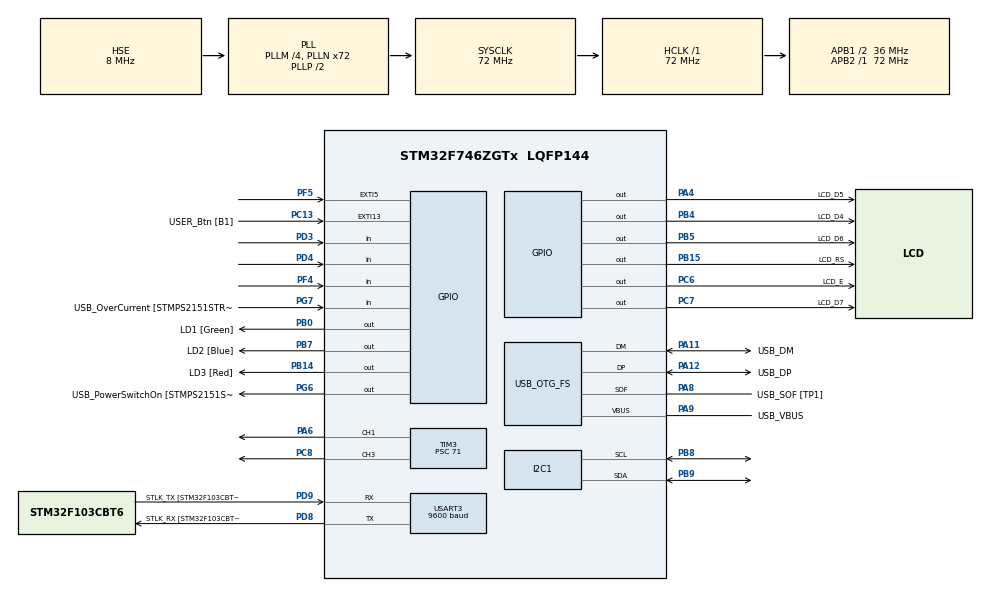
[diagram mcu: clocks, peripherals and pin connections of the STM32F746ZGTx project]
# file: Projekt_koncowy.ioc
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I2C1.Timing=0x00808CD2
Mcu.Family=STM32F7
Mcu.Name=STM32F746ZGTx
Mcu.Package=LQFP144
NVIC.EXTI15_10_IRQn=true\:0\:0\:false\:false\:true\:true\:true
NVIC.EXTI9_5_IRQn=true\:0\:0\:false\:false\:true\:true\:true
NVIC.PriorityGroup=NVIC_PRIORITYGROUP_4
NVIC.TIM2_IRQn=true\:0\:0\:false\:false\:true\:true\:true
NVIC.TIM3_IRQn=true\:0\:0\:false\:false\:true\:true\:true
NVIC.TIM4_IRQn=true\:0\:0\:false\:false\:true\:true\:true
NVIC.TIM5_IRQn=true\:0\:0\:false\:false\:true\:true\:true
NVIC.USART3_IRQn=true\:0\:0\:false\:false\:true\:true\:true
PA1.GPIO_Label=RMII_REF_CLK [LAN8742A-CZ-TR_REFCLK0]
PA1.Signal=ETH_REF_CLK
PA10.GPIO_Label=USB_ID
PA10.Signal=USB_OTG_FS_ID
PA11.GPIO_Label=USB_DM
PA11.Mode=Device_Only
PA11.Signal=USB_OTG_FS_DM
PA12.GPIO_Label=USB_DP
PA12.Mode=Device_Only
PA12.Signal=USB_OTG_FS_DP
PA13.GPIO_Label=TMS
PA13.Mode=Serial_Wire
PA13.Signal=SYS_JTMS-SWDIO
PA14.GPIO_Label=TCK
PA14.Mode=Serial_Wire
PA14.Signal=SYS_JTCK-SWCLK
PA2.GPIO_Label=RMII_MDIO [LAN8742A-CZ-TR_MDIO]
PA2.Signal=ETH_MDIO
PA4.GPIO_Label=LCD_D5
PA4.Signal=GPIO_Output
PA6.Signal=S_TIM3_CH1
PA7.GPIO_Label=RMII_CRS_DV [LAN8742A-CZ-TR_CRS_DV]
PA7.Signal=ETH_CRS_DV
PA8.GPIO_Label=USB_SOF [TP1]
PA8.Mode=Activate_SOF_FS
PA8.Signal=USB_OTG_FS_SOF
PA9.GPIO_Label=USB_VBUS
PA9.Mode=Activate_VBUS
PA9.Signal=USB_OTG_FS_VBUS
PB0.GPIO_Label=LD1 [Green]
PB0.Signal=GPIO_Output
PB13.GPIO_Label=RMII_TXD1 [LAN8742A-CZ-TR_TXD1]
PB13.Signal=ETH_TXD1
PB14.GPIO_Label=LD3 [Red]
PB14.Signal=GPIO_Output
PB15.GPIO_Label=LCD_RS
PB15.Signal=GPIO_Output
PB3.GPIO_Label=SW0
PB3.Signal=SYS_JTDO-SWO
PB4.GPIO_Label=LCD_D4
PB4.Signal=GPIO_Output
PB5.GPIO_Label=LCD_D6
PB5.Signal=GPIO_Output
PB7.GPIO_Label=LD2 [Blue]
PB7.Signal=GPIO_Output
PB8.Mode=I2C
PB8.Signal=I2C1_SCL
PB9.Mode=I2C
PB9.Signal=I2C1_SDA
PC1.GPIO_Label=RMII_MDC [LAN8742A-CZ-TR_MDC]
PC1.Signal=ETH_MDC
PC13.GPIO_Label=USER_Btn [B1]
PC13.Signal=GPXTI13
PC14/OSC32_IN.Mode=LSE-External-Oscillator
PC14/OSC32_IN.Signal=RCC_OSC32_IN
PC15/OSC32_OUT.Mode=LSE-External-Oscillator
PC15/OSC32_OUT.Signal=RCC_OSC32_OUT
PC4.GPIO_Label=RMII_RXD0 [LAN8742A-CZ-TR_RXD0]
PC4.Signal=ETH_RXD0
PC5.GPIO_Label=RMII_RXD1 [LAN8742A-CZ-TR_RXD1]
PC5.Signal=ETH_RXD1
PC6.GPIO_Label=LCD_E
PC6.Signal=GPIO_Output
PC7.GPIO_Label=LCD_D7
PC7.Signal=GPIO_Output
PC8.Signal=S_TIM3_CH3
PD3.Signal=GPIO_Input
PD4.Signal=GPIO_Input
PD8.GPIO_Label=STLK_RX [STM32F103CBT6_PA3]
PD8.Mode=Asynchronous
PD8.Signal=USART3_TX
PD9.GPIO_Label=STLK_TX [STM32F103CBT6_PA2]
PD9.Mode=Asynchronous
PD9.Signal=USART3_RX
PF4.GPIO_PuPd=GPIO_PULLUP
PF4.Signal=GPIO_Input
PF5.GPIO_PuPd=GPIO_PULLUP
PF5.Signal=GPXTI5
PG11.GPIO_Label=RMII_TX_EN [LAN8742A-CZ-TR_TXEN]
PG11.Signal=ETH_TX_EN
PG13.GPIO_Label=RMII_TXD0 [LAN8742A-CZ-TR_TXD0]
PG13.Signal=ETH_TXD0
PG6.GPIO_Label=USB_PowerSwitchOn [STMPS2151STR_EN]
PG6.Signal=GPIO_Output
PG7.GPIO_Label=USB_OverCurrent [STMPS2151STR_FAULT]
PG7.Signal=GPIO_Input
PH0/OSC_IN.GPIO_Label=MCO [STM32F103CBT6_PA8]
PH0/OSC_IN.Mode=HSE-External-Clock-Source
PH0/OSC_IN.Signal=RCC_OSC_IN
PH1/OSC_OUT.Mode=HSE-External-Clock-Source
PH1/OSC_OUT.Signal=RCC_OSC_OUT
ProjectManager.HeapSize=0x200
ProjectManager.StackSize=0x400
ProjectManager.TargetToolchain=STM32CubeIDE
RCC.48MHZClocksFreq_Value=24000000
RCC.AHBFreq_Value=72000000
RCC.APB1CLKDivider=RCC_HCLK_DIV2
RCC.APB1Freq_Value=36000000
RCC.APB1TimFreq_Value=72000000
RCC.APB2Freq_Value=72000000
RCC.APB2TimFreq_Value=72000000
RCC.CortexFreq_Value=72000000
RCC.HCLKFreq_Value=72000000
RCC.HSE_VALUE=8000000
RCC.HSI_VALUE=16000000
RCC.PLLM=4
RCC.PLLMUL=RCC_PLL_MUL9
RCC.PLLN=72
RCC.PLLQ=3
RCC.PRESCALERUSB=RCC_USBCLKSOURCE_PLL_DIV1_5
RCC.SYSCLKFreq_VALUE=72000000
RCC.SYSCLKSource=RCC_SYSCLKSOURCE_PLLCLK
RCC.SYSCLKSourceVirtual=RCC_SYSCLKSOURCE_PLLCLK
RCC.USBFreq_Value=48000000
RCC.VCOOutputFreq_Value=144000000
SH.S_TIM3_CH1.0=TIM3_CH1,PWM Generation1 CH1
SH.S_TIM3_CH3.0=TIM3_CH3,PWM Generation3 CH3
TIM2.Period=999
TIM2.Prescaler=63999
TIM3.Channel-PWM\ Generation1\ CH1=TIM_CHANNEL_1
TIM3.Channel-PWM\ Generation3\ CH3=TIM_CHANNEL_3
TIM3.Period=999
TIM3.Prescaler=71
TIM3.Pulse-PWM\ Generation3\ CH3=500
TIM4.Period=1000
TIM4.Prescaler=71
TIM5.Prescaler=71
USART3.BaudRate=9600
USART3.VirtualMode-Asynchronous=VM_ASYNC
USB_OTG_FS.VirtualMode=Device_Only
VP_TIM2_VS_ClockSourceINT.Mode=Internal
VP_TIM4_VS_ClockSourceINT.Mode=Internal
VP_TIM5_VS_ClockSourceINT.Mode=Internal
board=NUCLEO-F746ZG

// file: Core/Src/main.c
/* USER CODE BEGIN Header */
/**
 ******************************************************************************
 * @file           : main.c
 * @brief          : Main program body
 ******************************************************************************
 * @attention
 *
 * <h2><center>&copy; Copyright (c) 2021 STMicroelectronics.
 * All rights reserved.</center></h2>
 *
 * This software component is licensed by ST under BSD 3-Clause license,
 * the "License"; You may not use this file except in compliance with the
 * License. You may obtain a copy of the License at:
 *                        opensource.org/licenses/BSD-3-Clause
 *
 ******************************************************************************
 */
/* USER CODE END Header */
#include "main.h"

/* USER CODE BEGIN Includes */

#include <string.h>
#include <stdio.h>
#include <stdbool.h>
#include "i2c.h"
#include "bh1750_config.h"
#include "tim.h"
#include "lcd.h"
#include "lcd_config.h"
#include "pid.h"

/* USER CODE END Includes */

/* USER CODE BEGIN PD */

#define MAX_LENGTH 30

/* USER CODE END PD */

I2C_HandleTypeDef hi2c1;

TIM_HandleTypeDef htim2;
TIM_HandleTypeDef htim3;
TIM_HandleTypeDef htim4;
TIM_HandleTypeDef htim5;

UART_HandleTypeDef huart3;

PCD_HandleTypeDef hpcd_USB_OTG_FS;

/* USER CODE BEGIN PV */

BH1750_HandleTypeDef *hbh1750 = &hbh1750_1;

uint16_t wypelnienie_PWM = 100;
float set_point = 500.0;
float light = 0;
char text[MAX_LENGTH];
char msg_str[32];
_Bool uart_flag = 1;

pid pid1 = { .p.Kp = 0.5, .p.Ki = 1, .p.Kd = 0, .p.dt = 0.1,
		.previous_error = 0, .previous_integral = 0 };

/* USER CODE END PV */

void SystemClock_Config(void);
static void MX_GPIO_Init(void);
static void MX_USART3_UART_Init(void);
static void MX_USB_OTG_FS_PCD_Init(void);
//static void MX_TIM3_Init(void);
//static void MX_I2C1_Init(void);
//static void MX_TIM2_Init(void);
//static void MX_TIM5_Init(void);
//static void MX_TIM4_Init(void);

/* USER CODE BEGIN 0 */

void HAL_GPIO_EXTI_Callback(uint16_t GPIO_Pin) {
	if (GPIO_Pin == USER_Btn_Pin) {
		HAL_GPIO_TogglePin(GPIOB, LD1_Pin);
		uart_flag = !uart_flag;
		HAL_UART_Receive_IT(&huart3, (uint8_t*) msg_str, strlen("999."));
	}
	if(GPIO_Pin == GPIO_PIN_5) {
		if((HAL_GPIO_ReadPin(GPIOF,GPIO_PIN_4))&&set_point<999)
			set_point = set_point + 10;
		else if(set_point>10)
			set_point = set_point - 10;
	}
}

void HAL_TIM_PeriodElapsedCallback(TIM_HandleTypeDef *htim) {

	if (htim->Instance == TIM4) {
		__HAL_TIM_SET_AUTORELOAD(htim, 100);

		LCD_SetCursor(&hlcd1, 0, 1);
		snprintf(text, MAX_LENGTH, "READ - %.2f", light); // @suppress("Float formatting support")
		LCD_printf(&hlcd1, text);

		LCD_SetCursor(&hlcd1, 1, 1);
		snprintf(text, MAX_LENGTH, "REF - %.2f", set_point); // @suppress("Float formatting support")
		LCD_printf(&hlcd1, text);

	}

	if (htim->Instance == TIM2) {
		char str_buffer[32];
		int n;

		light = BH1750_ReadIlluminance_lux(hbh1750);

		float pwm_duty_f = (calculate_discrete_pid(&pid1, set_point, light, 1998));
		uint32_t pwm_duty = (int) pwm_duty_f;
		wypelnienie_PWM = pwm_duty;
		if (pwm_duty <= 999) {
			__HAL_TIM_SET_COMPARE(&htim3, TIM_CHANNEL_3, pwm_duty);
			__HAL_TIM_SET_COMPARE(&htim3, TIM_CHANNEL_1, 0);
		} else {
			__HAL_TIM_SET_COMPARE(&htim3, TIM_CHANNEL_3, 999);
			__HAL_TIM_SET_COMPARE(&htim3, TIM_CHANNEL_1, pwm_duty % 999);
		}

		n = sprintf(str_buffer, "{\"Light\":%6d}", (int) light);

		str_buffer[n] = '\r';
		str_buffer[n + 1] = '\n';

		HAL_UART_Transmit(&huart3, (uint8_t*) str_buffer, n + 2, 1000);

	}
}

void HAL_UART_RxCpltCallback(UART_HandleTypeDef *huart) {
	if ((huart->Instance == USART3) && uart_flag == 1) {

		HAL_TIM_Base_Stop_IT(&htim2);
		HAL_TIM_Base_Stop_IT(&htim4);

		sscanf(msg_str, "%f", &set_point); // @suppress("Float formatting support")

		for(int i=0; i<10; i++)
		{
			msg_str[i] = '\0';
		}

		HAL_UART_Receive_IT(&huart3, (uint8_t*) msg_str, strlen("999."));

		HAL_TIM_Base_Start_IT(&htim2);
		HAL_TIM_Base_Start_IT(&htim4);
	}
}
/* USER CODE END 0 */

int main(void)
{

  /* MCU Configuration--------------------------------------------------------*/

  /* Reset of all peripherals, Initializes the Flash interface and the Systick. */
  HAL_Init();

  /* Configure the system clock */
  SystemClock_Config();

  /* Initialize all configured peripherals */
  MX_GPIO_Init();
  MX_USART3_UART_Init();
  MX_USB_OTG_FS_PCD_Init();
  MX_TIM3_Init();
  MX_I2C1_Init();
  MX_TIM2_Init();
  MX_TIM5_Init();
  MX_TIM4_Init();
  /* USER CODE BEGIN 2 */

	HAL_TIM_PWM_Start(&htim3, TIM_CHANNEL_3);
	HAL_TIM_PWM_Start(&htim3, TIM_CHANNEL_1);
	HAL_UART_Receive_IT(&huart3, (uint8_t*) msg_str, strlen("999"));
	BH1750_Init(hbh1750);
	LCD_Init(&hlcd1);

	HAL_TIM_Base_Start_IT(&htim2);
	HAL_TIM_Base_Start_IT(&htim4);

  /* USER CODE END 2 */

  /* Infinite loop */
	while (1) {

	}
}

void SystemClock_Config(void)
{
  RCC_OscInitTypeDef RCC_OscInitStruct = {0};
  RCC_ClkInitTypeDef RCC_ClkInitStruct = {0};
  RCC_PeriphCLKInitTypeDef PeriphClkInitStruct = {0};

  /** Configure LSE Drive Capability
  */
  HAL_PWR_EnableBkUpAccess();
  /** Configure the main internal regulator output voltage
  */
  __HAL_RCC_PWR_CLK_ENABLE();
  __HAL_PWR_VOLTAGESCALING_CONFIG(PWR_REGULATOR_VOLTAGE_SCALE3);
  /** Initializes the RCC Oscillators according to the specified parameters
  * in the RCC_OscInitTypeDef structure.
  */
  RCC_OscInitStruct.OscillatorType = RCC_OSCILLATORTYPE_HSE;
  RCC_OscInitStruct.HSEState = RCC_HSE_BYPASS;
  RCC_OscInitStruct.PLL.PLLState = RCC_PLL_ON;
  RCC_OscInitStruct.PLL.PLLSource = RCC_PLLSOURCE_HSE;
  RCC_OscInitStruct.PLL.PLLM = 4;
  RCC_OscInitStruct.PLL.PLLN = 72;
  RCC_OscInitStruct.PLL.PLLP = RCC_PLLP_DIV2;
  RCC_OscInitStruct.PLL.PLLQ = 3;
  if (HAL_RCC_OscConfig(&RCC_OscInitStruct) != HAL_OK)
  {
    Error_Handler();
  }
  /** Initializes the CPU, AHB and APB buses clocks
  */
  RCC_ClkInitStruct.ClockType = RCC_CLOCKTYPE_HCLK|RCC_CLOCKTYPE_SYSCLK
                              |RCC_CLOCKTYPE_PCLK1|RCC_CLOCKTYPE_PCLK2;
  RCC_ClkInitStruct.SYSCLKSource = RCC_SYSCLKSOURCE_PLLCLK;
  RCC_ClkInitStruct.AHBCLKDivider = RCC_SYSCLK_DIV1;
  RCC_ClkInitStruct.APB1CLKDivider = RCC_HCLK_DIV2;
  RCC_ClkInitStruct.APB2CLKDivider = RCC_HCLK_DIV1;

  if (HAL_RCC_ClockConfig(&RCC_ClkInitStruct, FLASH_LATENCY_2) != HAL_OK)
  {
    Error_Handler();
  }
  PeriphClkInitStruct.PeriphClockSelection = RCC_PERIPHCLK_USART3|RCC_PERIPHCLK_I2C1
                              |RCC_PERIPHCLK_CLK48;
  PeriphClkInitStruct.Usart3ClockSelection = RCC_USART3CLKSOURCE_PCLK1;
  PeriphClkInitStruct.I2c1ClockSelection = RCC_I2C1CLKSOURCE_PCLK1;
  PeriphClkInitStruct.Clk48ClockSelection = RCC_CLK48SOURCE_PLL;
  if (HAL_RCCEx_PeriphCLKConfig(&PeriphClkInitStruct) != HAL_OK)
  {
    Error_Handler();
  }
}

static void MX_USART3_UART_Init(void)
{

  huart3.Instance = USART3;
  huart3.Init.BaudRate = 9600;
  huart3.Init.WordLength = UART_WORDLENGTH_8B;
  huart3.Init.StopBits = UART_STOPBITS_1;
  huart3.Init.Parity = UART_PARITY_NONE;
  huart3.Init.Mode = UART_MODE_TX_RX;
  huart3.Init.HwFlowCtl = UART_HWCONTROL_NONE;
  huart3.Init.OverSampling = UART_OVERSAMPLING_16;
  huart3.Init.OneBitSampling = UART_ONE_BIT_SAMPLE_DISABLE;
  huart3.AdvancedInit.AdvFeatureInit = UART_ADVFEATURE_NO_INIT;
  if (HAL_UART_Init(&huart3) != HAL_OK)
  {
    Error_Handler();
  }

}

static void MX_USB_OTG_FS_PCD_Init(void)
{

  hpcd_USB_OTG_FS.Instance = USB_OTG_FS;
  hpcd_USB_OTG_FS.Init.dev_endpoints = 6;
  hpcd_USB_OTG_FS.Init.speed = PCD_SPEED_FULL;
  hpcd_USB_OTG_FS.Init.dma_enable = DISABLE;
  hpcd_USB_OTG_FS.Init.phy_itface = PCD_PHY_EMBEDDED;
  hpcd_USB_OTG_FS.Init.Sof_enable = ENABLE;
  hpcd_USB_OTG_FS.Init.low_power_enable = DISABLE;
  hpcd_USB_OTG_FS.Init.lpm_enable = DISABLE;
  hpcd_USB_OTG_FS.Init.vbus_sensing_enable = ENABLE;
  hpcd_USB_OTG_FS.Init.use_dedicated_ep1 = DISABLE;
  if (HAL_PCD_Init(&hpcd_USB_OTG_FS) != HAL_OK)
  {
    Error_Handler();
  }

}

static void MX_GPIO_Init(void)
{
  GPIO_InitTypeDef GPIO_InitStruct = {0};

  /* GPIO Ports Clock Enable */
  __HAL_RCC_GPIOC_CLK_ENABLE();
  __HAL_RCC_GPIOF_CLK_ENABLE();
  __HAL_RCC_GPIOH_CLK_ENABLE();
  __HAL_RCC_GPIOA_CLK_ENABLE();
  __HAL_RCC_GPIOB_CLK_ENABLE();
  __HAL_RCC_GPIOD_CLK_ENABLE();
  __HAL_RCC_GPIOG_CLK_ENABLE();

  /*Configure GPIO pin Output Level */
  HAL_GPIO_WritePin(LCD_D5_GPIO_Port, LCD_D5_Pin, GPIO_PIN_RESET);

  /*Configure GPIO pin Output Level */
  HAL_GPIO_WritePin(GPIOB, LD1_Pin|LD3_Pin|LCD_RS_Pin|LCD_D4_Pin
                          |LCD_D6_Pin|LD2_Pin, GPIO_PIN_RESET);

  /*Configure GPIO pin Output Level */
  HAL_GPIO_WritePin(USB_PowerSwitchOn_GPIO_Port, USB_PowerSwitchOn_Pin, GPIO_PIN_RESET);

  /*Configure GPIO pin Output Level */
  HAL_GPIO_WritePin(GPIOC, LCD_E_Pin|LCD_D7_Pin, GPIO_PIN_RESET);

  /*Configure GPIO pin : USER_Btn_Pin */
  GPIO_InitStruct.Pin = USER_Btn_Pin;
  GPIO_InitStruct.Mode = GPIO_MODE_IT_RISING;
  GPIO_InitStruct.Pull = GPIO_NOPULL;
  HAL_GPIO_Init(USER_Btn_GPIO_Port, &GPIO_InitStruct);

  /*Configure GPIO pin : PF4 */
  GPIO_InitStruct.Pin = GPIO_PIN_4;
  GPIO_InitStruct.Mode = GPIO_MODE_INPUT;
  GPIO_InitStruct.Pull = GPIO_PULLUP;
  HAL_GPIO_Init(GPIOF, &GPIO_InitStruct);

  /*Configure GPIO pin : PF5 */
  GPIO_InitStruct.Pin = GPIO_PIN_5;
  GPIO_InitStruct.Mode = GPIO_MODE_IT_RISING;
  GPIO_InitStruct.Pull = GPIO_PULLUP;
  HAL_GPIO_Init(GPIOF, &GPIO_InitStruct);

  /*Configure GPIO pins : RMII_MDC_Pin RMII_RXD0_Pin RMII_RXD1_Pin */
  GPIO_InitStruct.Pin = RMII_MDC_Pin|RMII_RXD0_Pin|RMII_RXD1_Pin;
  GPIO_InitStruct.Mode = GPIO_MODE_AF_PP;
  GPIO_InitStruct.Pull = GPIO_NOPULL;
  GPIO_InitStruct.Speed = GPIO_SPEED_FREQ_VERY_HIGH;
  GPIO_InitStruct.Alternate = GPIO_AF11_ETH;
  HAL_GPIO_Init(GPIOC, &GPIO_InitStruct);

  /*Configure GPIO pins : RMII_REF_CLK_Pin RMII_MDIO_Pin RMII_CRS_DV_Pin */
  GPIO_InitStruct.Pin = RMII_REF_CLK_Pin|RMII_MDIO_Pin|RMII_CRS_DV_Pin;
  GPIO_InitStruct.Mode = GPIO_MODE_AF_PP;
  GPIO_InitStruct.Pull = GPIO_NOPULL;
  GPIO_InitStruct.Speed = GPIO_SPEED_FREQ_VERY_HIGH;
  GPIO_InitStruct.Alternate = GPIO_AF11_ETH;
  HAL_GPIO_Init(GPIOA, &GPIO_InitStruct);

  /*Configure GPIO pin : LCD_D5_Pin */
  GPIO_InitStruct.Pin = LCD_D5_Pin;
  GPIO_InitStruct.Mode = GPIO_MODE_OUTPUT_PP;
  GPIO_InitStruct.Pull = GPIO_NOPULL;
  GPIO_InitStruct.Speed = GPIO_SPEED_FREQ_LOW;
  HAL_GPIO_Init(LCD_D5_GPIO_Port, &GPIO_InitStruct);

  /*Configure GPIO pins : LD1_Pin LD3_Pin LCD_RS_Pin LCD_D4_Pin
                           LCD_D6_Pin LD2_Pin */
  GPIO_InitStruct.Pin = LD1_Pin|LD3_Pin|LCD_RS_Pin|LCD_D4_Pin
                          |LCD_D6_Pin|LD2_Pin;
  GPIO_InitStruct.Mode = GPIO_MODE_OUTPUT_PP;
  GPIO_InitStruct.Pull = GPIO_NOPULL;
  GPIO_InitStruct.Speed = GPIO_SPEED_FREQ_LOW;
  HAL_GPIO_Init(GPIOB, &GPIO_InitStruct);

  /*Configure GPIO pin : RMII_TXD1_Pin */
  GPIO_InitStruct.Pin = RMII_TXD1_Pin;
  GPIO_InitStruct.Mode = GPIO_MODE_AF_PP;
  GPIO_InitStruct.Pull = GPIO_NOPULL;
  GPIO_InitStruct.Speed = GPIO_SPEED_FREQ_VERY_HIGH;
  GPIO_InitStruct.Alternate = GPIO_AF11_ETH;
  HAL_GPIO_Init(RMII_TXD1_GPIO_Port, &GPIO_InitStruct);

  /*Configure GPIO pin : USB_PowerSwitchOn_Pin */
  GPIO_InitStruct.Pin = USB_PowerSwitchOn_Pin;
  GPIO_InitStruct.Mode = GPIO_MODE_OUTPUT_PP;
  GPIO_InitStruct.Pull = GPIO_NOPULL;
  GPIO_InitStruct.Speed = GPIO_SPEED_FREQ_LOW;
  HAL_GPIO_Init(USB_PowerSwitchOn_GPIO_Port, &GPIO_InitStruct);

  /*Configure GPIO pin : USB_OverCurrent_Pin */
  GPIO_InitStruct.Pin = USB_OverCurrent_Pin;
  GPIO_InitStruct.Mode = GPIO_MODE_INPUT;
  GPIO_InitStruct.Pull = GPIO_NOPULL;
  HAL_GPIO_Init(USB_OverCurrent_GPIO_Port, &GPIO_InitStruct);

  /*Configure GPIO pins : LCD_E_Pin LCD_D7_Pin */
  GPIO_InitStruct.Pin = LCD_E_Pin|LCD_D7_Pin;
  GPIO_InitStruct.Mode = GPIO_MODE_OUTPUT_PP;
  GPIO_InitStruct.Pull = GPIO_NOPULL;
  GPIO_InitStruct.Speed = GPIO_SPEED_FREQ_LOW;
  HAL_GPIO_Init(GPIOC, &GPIO_InitStruct);

  /*Configure GPIO pins : PD3 PD4 */
  GPIO_InitStruct.Pin = GPIO_PIN_3|GPIO_PIN_4;
  GPIO_InitStruct.Mode = GPIO_MODE_INPUT;
  GPIO_InitStruct.Pull = GPIO_NOPULL;
  HAL_GPIO_Init(GPIOD, &GPIO_InitStruct);

  /*Configure GPIO pins : RMII_TX_EN_Pin RMII_TXD0_Pin */
  GPIO_InitStruct.Pin = RMII_TX_EN_Pin|RMII_TXD0_Pin;
  GPIO_InitStruct.Mode = GPIO_MODE_AF_PP;
  GPIO_InitStruct.Pull = GPIO_NOPULL;
  GPIO_InitStruct.Speed = GPIO_SPEED_FREQ_VERY_HIGH;
  GPIO_InitStruct.Alternate = GPIO_AF11_ETH;
  HAL_GPIO_Init(GPIOG, &GPIO_InitStruct);

  /* EXTI interrupt init*/
  HAL_NVIC_SetPriority(EXTI9_5_IRQn, 0, 0);
  HAL_NVIC_EnableIRQ(EXTI9_5_IRQn);

  HAL_NVIC_SetPriority(EXTI15_10_IRQn, 0, 0);
  HAL_NVIC_EnableIRQ(EXTI15_10_IRQn);

}

void Error_Handler(void)
{
	__disable_irq();
	while (1) {
	}
}

/************************ (C) COPYRIGHT STMicroelectronics *****END OF FILE****/
